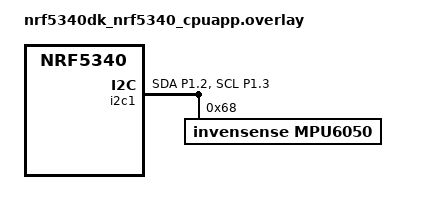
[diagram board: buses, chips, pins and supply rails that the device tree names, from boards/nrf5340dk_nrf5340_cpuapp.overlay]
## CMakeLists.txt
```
cmake_minimum_required(VERSION 3.13.1)
set(CMAKE_CXX_STANDARD 11)
set(CMAKE_CXX_STANDARD_REQUIRED ON)

find_package(Zephyr REQUIRED HINTS $ENV{ZEPHYR_BASE})
project(EdgeAI_nRF)

zephyr_compile_options(-fdiagnostics-color=always)

add_definitions(
    -DEI_CLASSIFIER_TFLITE_ENABLE_CMSIS_NN=1
    -DARM_MATH_LOOPUNROLL
    -DEI_NORDIC
)

add_subdirectory(third_party/edge_impulse)

target_sources(app PRIVATE
    src/main.cpp
    src/mpu6050/mpu6050.cpp
    src/mqtt/mqtt.c
)

target_include_directories(app PRIVATE
    src
    src/mpu6050
    src/mqtt
    third_party/edge_impulse
)

add_definitions(
    -DSB_CONFIG_WIFI_NRF70=1
    -DSB_CONFIG_MQTT_HELPER=1
    -DCONFIG_WIFI=1
    -DCONFIG_WIFI_NM=1
    -DCONFIG_MQTT_HELPER=1
    -DCONFIG_NET_CONNECTION_MANAGER=1
)
```

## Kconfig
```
menu "EdgeAI_nRF"

config MQTT_SAMPLE_PUB_TOPIC
    string "MQTT publish topic"
    default "edgeai/fault"

config MQTT_SAMPLE_SUB_TOPIC
    string "MQTT subscribe topic"
    default "edgeai/cmd"

config MQTT_SAMPLE_BROKER_HOSTNAME
    string "MQTT broker hostname"
    default "192.168.4.1"

config MQTT_SAMPLE_BROKER_USERNAME
    string "MQTT broker username"
    default "username"

config MQTT_SAMPLE_BROKER_PASSWORD
    string "MQTT broker password"
    default "pass"

endmenu
source "Kconfig.zephyr"
```

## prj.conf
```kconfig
# ================= NETWORK =================
CONFIG_NETWORKING=y
CONFIG_NET_SOCKETS=y
CONFIG_NET_IPV4=y
CONFIG_NET_IPV6=y
CONFIG_NET_TCP=y
CONFIG_NET_DHCPV4=y
CONFIG_DNS_RESOLVER=y

# ================= Networking Management API =================
CONFIG_NET_MGMT=y
CONFIG_NET_MGMT_EVENT=y
CONFIG_NET_MGMT_EVENT_INFO=y
CONFIG_NET_CONNECTION_MANAGER=y
CONFIG_NET_CONNECTION_MANAGER_MONITOR_STACK_SIZE=5200
CONFIG_L2_WIFI_CONNECTIVITY=y

# ================= WiFi =================
CONFIG_WIFI=y
CONFIG_WIFI_NM=y
CONFIG_WIFI_NRF70=y
CONFIG_WIFI_CREDENTIALS=y
CONFIG_WIFI_CREDENTIALS_STATIC=y
CONFIG_WIFI_CREDENTIALS_STATIC_SSID="RPi-AP"
CONFIG_WIFI_CREDENTIALS_STATIC_PASSWORD="EdgeAI_123"
CONFIG_WIFI_CREDENTIALS_BACKEND_SETTINGS=y
CONFIG_WIFI_NM_WPA_SUPPLICANT=y
CONFIG_NET_CONNECTION_MANAGER_LOG_LEVEL_DBG=y
CONFIG_WIFI_NM_LOG_LEVEL_DBG=y

# ================= MQTT =================
CONFIG_MQTT_LIB=y
CONFIG_MQTT_HELPER=y
CONFIG_MQTT_HELPER_STACK_SIZE=4096
#CONFIG_MQTT_HELPER_LOG_LEVEL_DBG=y
CONFIG_MQTT_HELPER_LOG_LEVEL_INF=y
CONFIG_MQTT_CLEAN_SESSION=y
CONFIG_NET_DHCPV4=y

# ================= SENSOR =================
CONFIG_SENSOR=y
CONFIG_MPU6050=y

# ================= SETTINGS / FLASH =================
CONFIG_SETTINGS=y
CONFIG_SETTINGS_RUNTIME=y
CONFIG_FLASH=y
CONFIG_FLASH_MAP=y
CONFIG_FLASH_PAGE_LAYOUT=y
CONFIG_NVS=y
CONFIG_MPU_ALLOW_FLASH_WRITE=y

# ================= MEMORY =================
CONFIG_MAIN_STACK_SIZE=16384
CONFIG_SYSTEM_WORKQUEUE_STACK_SIZE=8192
CONFIG_HEAP_MEM_POOL_SIZE=32768
CONFIG_NET_TC_TX_COUNT=0
CONFIG_NET_BUF_TX_COUNT=8
CONFIG_NET_BUF_RX_COUNT=8
CONFIG_NET_PKT_TX_COUNT=8
CONFIG_NET_PKT_RX_COUNT=8
CONFIG_NET_TX_STACK_SIZE=4096
CONFIG_NET_RX_STACK_SIZE=4096
CONFIG_NET_BUF_FIXED_DATA_SIZE=y
CONFIG_NET_BUF_DATA_SIZE=256
CONFIG_NET_TCP_WORKQ_STACK_SIZE=2048

# ================= LOGGING =================
CONFIG_LOG=y
CONFIG_LOG_MODE_DEFERRED=y
CONFIG_LOG_BUFFER_SIZE=8192
CONFIG_LOG_PROCESS_THREAD_STACK_SIZE=2048
CONFIG_LOG_DEFAULT_LEVEL=3
CONFIG_ASSERT=y

# ================= C++ =================
CONFIG_CPP=y
CONFIG_GLIBCXX_LIBCPP=y

# ================= FPU / OTHER =================
CONFIG_FPU=y
CONFIG_I2C=y
CONFIG_THREAD_STACK_INFO=y
CONFIG_THREAD_MONITOR=y
CONFIG_INIT_STACKS=y

# ================= GPIO / LED =================
CONFIG_GPIO=y
CONFIG_LED=y

# ================= Kernel basics =================
CONFIG_MULTITHREADING=y
CONFIG_TIMESLICING=y
CONFIG_EVENTS=y

# ================= Watchdog =================
CONFIG_WATCHDOG=y
```

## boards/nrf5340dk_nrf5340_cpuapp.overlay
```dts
/* ================= I2C + MPU6050 ================= */

&i2c1 {
    status = "okay";

    pinctrl-0 = <&i2c1_default>;
    pinctrl-1 = <&i2c1_sleep>;
    pinctrl-names = "default", "sleep";

    mpu6050@68 {
        compatible = "invensense,mpu6050";
        reg = <0x68>;
        label = "MPU6050";
    };
};

/* ================= PINCTRL ================= */

&pinctrl {
    i2c1_default: i2c1_default {
        group1 {
            psels = <NRF_PSEL(TWIM_SDA, 1, 2)>, //P1.02 (MPU6050/GY-521 sensor)
                    <NRF_PSEL(TWIM_SCL, 1, 3)>; //P1.03 (MPU6050/GY-521 sensor)
            nordic,drive-mode = <NRF_DRIVE_S0S1>;
            bias-pull-up;
        };
    };

    i2c1_sleep: i2c1_sleep {
        group1 {
            psels = <NRF_PSEL(TWIM_SDA, 1, 2)>,  //P1.02 (MPU6050/GY-521 sensor)
                    <NRF_PSEL(TWIM_SCL, 1, 3)>; //P1.03 (MPU6050/GY-521 sensor)
            low-power-enable; 
        };
    };
};
```

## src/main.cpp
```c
/* 
   Edge AI – Industrial Motor Anomaly Detection

   Platform: nRF5340 + Zephyr RTOS + https://mlstudio.nordicsemi.com/ (Edge Impulse)

 Features:
 - Deterministically samples vibration data at 100 Hz
 - Acquires raw 3-axis (XYZ) acceleration data
 - Fills a linear buffer corresponding to a single AI inference window
 - Executes the Edge Impulse DSP + ML pipeline (FFT + K-means anomaly detection)
 - Performs on-device decision making (OK / FAULT)
 - Publishes the result via MQTT
 - Uses a hardware watchdog for system safety and reliability
 */

#include <zephyr/kernel.h>
#include <zephyr/logging/log.h>
#include <zephyr/drivers/watchdog.h>
#include "mpu6050/mpu6050.h"
#include "mqtt/mqtt.h"
#include "edge-impulse-sdk/classifier/ei_run_classifier.h"

/* Zephyr logging modul */
LOG_MODULE_REGISTER(edgeai_motor, LOG_LEVEL_INF);

/*  EDGE IMPULSE settings:
    These values come directly from the Edge Impulse model:
    EI_CLASSIFIER_FREQUENCY        - Sampling frequency (Hz) expected by the model
    EI_CLASSIFIER_RAW_SAMPLE_COUNT - Number of raw samples per axis
    Total samples (X, Y, Z)        - 3 * RAW_SAMPLE_COUNT
*/
#define SAMPLE_RATE_HZ EI_CLASSIFIER_FREQUENCY
#define RAW_COUNT      EI_CLASSIFIER_RAW_SAMPLE_COUNT
#define RAW_SIZE       (RAW_COUNT * 3)

// FAULT POSTAVKE
#define FIXED_THRESHOLD      300.0f  // Distance threshold (anomaly limit)
#define CONSECUTIVE_FAULTS   3       // Number of consecutive detections required to confirm a fault
#define HEARTBEAT_SECONDS  10

//RAW BUFFER - linear - format: [x0,y0,z0, x1,y1,z1, ...] */
static float raw_buffer[RAW_SIZE];
static size_t raw_idx = 0;

/* Edge Impulse CALLBACK
   The model does not read the sensor directly — it requests data via get_data().
   Here we simply copy data from the buffer into the internal Edge Impulse memory.
*/
static int get_data(size_t offset, size_t length, float *out)
{
    memcpy(out, raw_buffer + offset, length * sizeof(float));
    return 0;
}

/* Deterministic sampling (100 Hz):
   Timer → semaphore → main loop
*/
K_SEM_DEFINE(sample_sem, 0, 1);
/* Timer interrupt - sample */
static void timer_cb(struct k_timer *t) { k_sem_give(&sample_sem); }
K_TIMER_DEFINE(sample_timer, timer_cb, NULL);

/*  WATCHDOG  */
#define WDT_FEED_INTERVAL_MS 1000
static const struct device *wdt_dev = nullptr;
static int wdt_channel_id = -1;

static void watchdog_init(void)
{
    wdt_dev = device_get_binding("WDT_0");
    if (!wdt_dev) {
        LOG_WRN("Watchdog device not found, continuing without it");
        return;
    }
    struct wdt_timeout_cfg wdt_cfg;
    wdt_cfg.window.min = 0;
    wdt_cfg.window.max = WDT_FEED_INTERVAL_MS;
    wdt_cfg.callback = nullptr;
    wdt_cfg.flags = WDT_FLAG_RESET_SOC;
    wdt_channel_id = wdt_install_timeout(wdt_dev, &wdt_cfg);
    if (wdt_channel_id < 0) {
        LOG_ERR("Watchdog install failed, continuing without it");
        return;
    }
    wdt_setup(wdt_dev, WDT_OPT_PAUSE_HALTED_BY_DBG);
}

int main(void)
{
    LOG_INF("EdgeAI Detecting Anomalies");

    mqtt_init("DC_Motor_185RPM");
    mqtt_connect_broker();
    mpu6050_init();   // accelerometer
    watchdog_init();  //Watchdog
  /* Start of periodic sampling */
    k_timer_start(&sample_timer, K_MSEC(1000 / SAMPLE_RATE_HZ),
                  K_MSEC(1000 / SAMPLE_RATE_HZ));

/* Linking the buffer with the Edge Impulse model */
    signal_t signal;
    signal.total_length = RAW_SIZE;
    signal.get_data = get_data;

    ei_impulse_result_t result;
    uint8_t fault_counter = 0;
    bool fault_active = false;
    int64_t last_pub = 0;

    while (1) {
        /* Wait for exactly one sample (100 Hz) */

        k_sem_take(&sample_sem, K_FOREVER);

      /* Reading data from the sensor */
        float x, y, z;
        if (!mpu6050_read(&x, &y, &z))
            continue;
      /* Values already in g units (scaled) */

        x /= 16384.f;
        y /= 16384.f;
        z /= 16384.f;
            /* Filling the RAW buffer */
        raw_buffer[raw_idx++] = x;
        raw_buffer[raw_idx++] = y;
        raw_buffer[raw_idx++] = z;

      /* No inference until the entire frame is filled */
              if (raw_idx < RAW_SIZE)
            continue;
        raw_idx = 0;

        /* RUN EDGE IMPULSE  - Infrence
          Pipeline:
           raw > FFT > features > anomaly model*/
        if (run_classifier(&signal, &result, false) != EI_IMPULSE_OK)
            continue;

      /* Anomaly detection:
   K-means provides a distance value
   Higher distance indicates a greater anomaly */
        float distance = result.anomaly;
        bool anomaly = (distance > FIXED_THRESHOLD);
        LOG_INF("score=%.2f %s", distance, anomaly ? "FAULT" : "OK");

        /* Fault confirmation (FAULT) */
        if (anomaly)
            fault_counter++;
        else
            fault_counter = 0;

        bool confirmed_fault = (fault_counter >= CONSECUTIVE_FAULTS);
        int64_t now = k_uptime_get();

        /* MQTT communication */
        if (confirmed_fault && !fault_active) {
            mqtt_publish_anomaly({
                .score     = distance,
                .threshold = FIXED_THRESHOLD,
                .status    = "FAULT"
            });
            fault_active = true;
            last_pub = now;
        }
        else if (!confirmed_fault && (now - last_pub > HEARTBEAT_SECONDS * 1000)) {
            mqtt_publish_anomaly({
                .score     = distance,
                .threshold = FIXED_THRESHOLD,
                .status    = "OK"
            });
            fault_active = false;
            last_pub = now;
        }

        /*  WATCHDOG FEED  */
        if (wdt_dev && wdt_channel_id >= 0)
            wdt_feed(wdt_dev, wdt_channel_id);
    }
}
```
